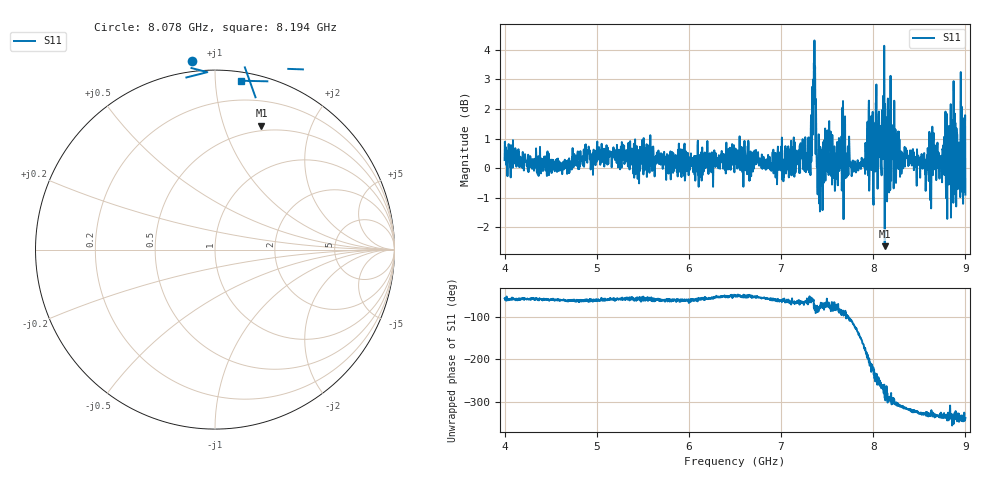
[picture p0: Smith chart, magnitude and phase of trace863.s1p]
! Created with skrf 1.8.0 (http://scikit-rf.org).
# Hz S RI R 50.0
!freq ReS11 ImS11
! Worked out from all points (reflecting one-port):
!   1601 points, 4 GHz to 9 GHz, reference 50 ohm
!   lowest |S11| = -2.6 dB at 8.125 GHz (marker M1), VSWR 6.62, Z = 22.2 + j67.3 ohm
!   phase of S11 starts at -56 deg and turns -281 deg over the sweep
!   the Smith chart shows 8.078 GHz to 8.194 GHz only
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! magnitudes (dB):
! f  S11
! 4 GHz  0.3
! 4.625 GHz  -0.2
! 4.897 GHz  0.2
! 5.25 GHz  0.1
! 5.875 GHz  0.1
! 6.5 GHz  0.5
! 7.125 GHz  0.2
! 7.294 GHz  0.9
! 7.356 GHz  3.6
! 7.388 GHz  0.0
! 7.397 GHz  -0.9
! 7.412 GHz  0.1
! 7.512 GHz  0.5
! 7.578 GHz  0.7
! 7.669 GHz  0.8
! 7.75 GHz  0.1
! 7.888 GHz  0.2
! 8.05 GHz  0.4
! 8.066 GHz  1.3
! 8.097 GHz  1.2
! 8.125 GHz  -2.6
! 8.312 GHz  0.5
! 8.375 GHz  0.3
! 8.553 GHz  0.5
! 8.775 GHz  0.7
! 8.919 GHz  -0.1
! 8.972 GHz  0.6
! 9 GHz  -0.9
